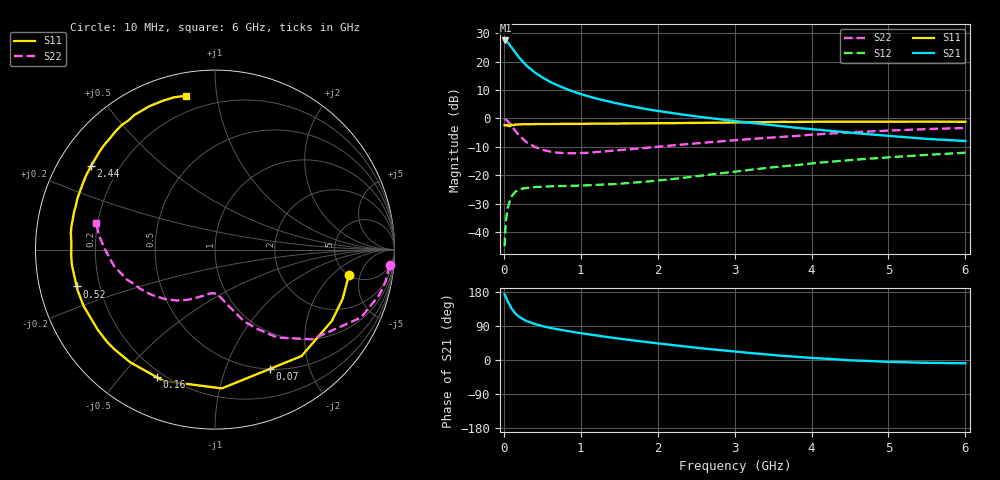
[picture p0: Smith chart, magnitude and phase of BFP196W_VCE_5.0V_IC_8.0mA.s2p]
! Infineon Technologies  Discrete & RF Semiconductors
! BFP196W
! VCE = 5.0 V,  IC = 8.0mA
! Common Emitter S-Parameters:  Jan 2016
# GHz  S  MA  R  50
!  f  S11  S21  S12  S22
! GHz  MAG  ANG  MAG  ANG  MAG  ANG  MAG  ANG
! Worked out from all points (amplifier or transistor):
!   210 points, 10 MHz to 6 GHz, reference 50 ohm
!   highest |S21| = 27.5 dB at 20 MHz (marker M1)
!   |S21| within 3 dB of that: start of sweep to 116.1 MHz
!   unconditionally stable (mu >= 1): 1.292 GHz to 3.323 GHz
!   at 185 MHz: K = 0.18, MSG = 23.7 dB, |S12| = -25.3 dB
!   at 1.52 GHz: K = 1.11, MAG = 12.0 dB, |S12| = -23.0 dB
!   at 6 GHz: K = 0.95, MSG = 2.1 dB, |S12| = -12.1 dB
!   S11 on the Smith chart (normalised r, x): 10 MHz: 5.05, -3.34; 70 MHz: 0.50, -1.44; 160 MHz: 0.17, -0.63; 520 MHz: 0.11, -0.13; 2.44 GHz: 0.10, +0.30; 6 GHz: 0.11, +0.82
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0.01  0.7596 -10.6  23.5 173.1  0.0056 82.4  0.977 -5.2
0.02  0.7621 -21.1  23.68 169.4  0.0115 80.1  0.9668 -10.5
0.03  0.7629 -31.4  23.26 164.4  0.0168 75.6  0.95 -15.4
0.05  0.7644 -50.9  22.06 154.4  0.0263 66.5  0.8976 -24.9
0.07  0.7316 -65.4  20.16 147.7  0.0323 57.6  0.8242 -31.2
0.1  0.7743 -87.2  17.97 135.3  0.0423 49.4  0.7369 -42.7
0.15  0.786 -111.5  14.49 122.2  0.0512 39.0  0.6004 -54.7
0.16  0.7813 -114.6  13.92 120.7  0.052 37.6  0.5791 -56.0
0.2  0.7858 -127.1  11.76 113.5  0.0554 32.4  0.4976 -62.2
0.24  0.7893 -135.6  10.24 108.6  0.0578 28.9  0.4446 -66.6
0.3  0.7913 -145.8  8.395 102.3  0.0598 25.6  0.3763 -71.4
0.4  0.7967 -156.8  6.486 94.9  0.0617 22.2  0.3157 -77.3
0.52  0.7977 -165.1  5.097 88.5  0.0628 21.0  0.2759 -82.0
0.7  0.8022 -174.1  3.828 80.9  0.064 21.0  0.2484 -87.5
1.02  0.8031 175.9  2.634 70.1  0.0656 24.2  0.2457 -96.0
1.4  0.8116 166.4  1.931 59.0  0.0692 30.0  0.2678 -104.9
2.02  0.8227 153.7  1.346 43.5  0.0809 40.1  0.3182 -118.6
2.44  0.8329 146.1  1.113 33.8  0.0933 44.9  0.3578 -127.8
3.1  0.8508 134.9  0.867 20.4  0.1199 47.8  0.4225 -142.3
4.1  0.8742 119.8  0.63 4.4  0.1656 45.0  0.5262 -163.0
5.1  0.8782 108.5  0.481 -5.4  0.2104 38.0  0.6178 178.8
6  0.8722 100.7  0.4 -8.6  0.2489 31.3  0.6781 167.2
